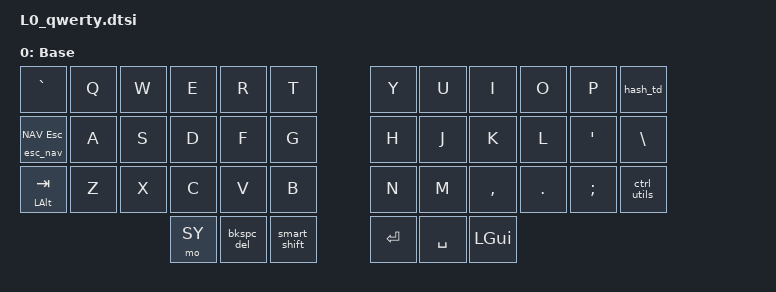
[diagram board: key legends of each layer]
/**
 * Alpha Layer - QWERTY (Base)
 * Optimized for Arch Linux + Hyprland workflow
 * 2-layer design with pinky modifiers and Super key access
 */


/ {
  keymap {
    compatible = "zmk,keymap";

    layer_0 {
      display-name = "Base";
      bindings = <
// ╭───────────────┬───────────────┬───────────────┬───────────────┬───────────────┬───────────────╮   ╭───────────────┬───────────────┬───────────────┬───────────────┬───────────────┬───────────────╮
// │0              │1              │2              │3              │4              │5              │   │6              │7              │8              │9              │10             │11             │
    &kp GRAVE       &kp Q           &kp W           &kp E           &kp R           &kp T               &kp Y           &kp U           &kp I           &kp O           &kp P           &hash_td
// ├───────────────├───────────────┼───────────────┼───────────────┼───────────────┼───────────────┤   ├───────────────├───────────────┼───────────────┼───────────────┼───────────────┼───────────────┤
// │12             │13             │14             │15             │16             │17             │   │18             │19             │20             │21             │22             │23             │
    &esc_nav NAV ESC &kp A           &kp S           &kp D           &kp F           &kp G               &kp H           &kp J           &kp K           &kp L           &kp SQT         &kp BSLH
// ├───────────────├───────────────┼───────────────┼───────────────┼───────────────┼───────────────┤   ├───────────────├───────────────┼───────────────┼───────────────┼───────────────┼───────────────┤
// │24 TAB/ALT     │25             │26             │27             │28             │29             │   │30             │31             │32             │33             │34             │35 //CTRL/UTIL  │
    &mt LALT TAB    &kp Z           &kp X           &kp C           &kp V           &kp B               &kp N           &kp M           &kp COMMA       &kp DOT         &kp SEMICOLON   &ctrl_utils
// ╰───────────────┴───────────────┴───────────────┼───────────────┼───────────────┼───────────────┤   ├───────────────├───────────────┼───────────────┼───────────────┴───────────────┴───────────────╯
//                                                 │36             │37             │38             │   │39             │40             │41             │
                                                    &mo SY          &bkspc_del      &smart_shift        &kp ENTER       &kp SPACE       &kp LGUI 
//                                                 ╰───────────────┴───────────────┴───────────────╯   ╰───────────────┴───────────────┴───────────────╯
      >;
    };
  };
};
